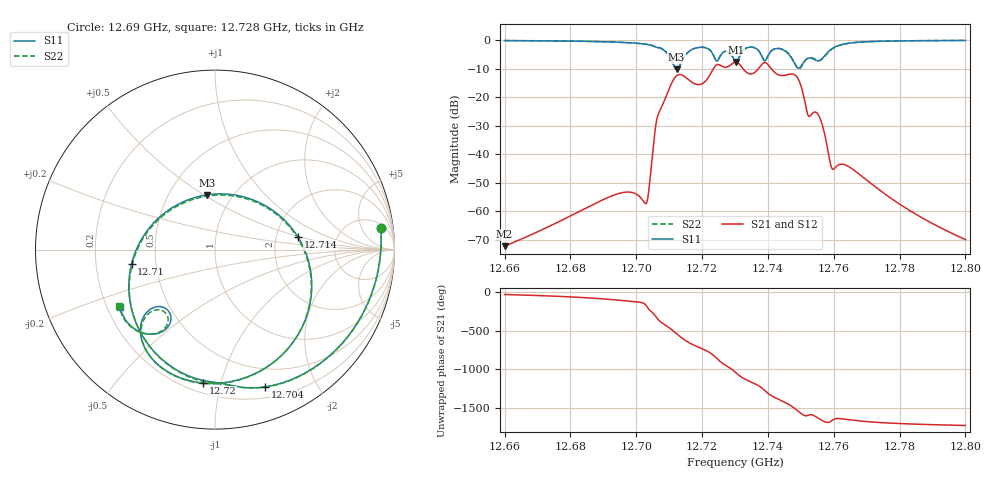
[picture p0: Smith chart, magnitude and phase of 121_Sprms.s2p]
! TOUCHSTONE file generated by CST MICROWAVE STUDIO
! Date and time: Wed Jul 31 16:53:41 2024
! Project name: WaveGuide_BPF-Ver4.1_U-shape_Ku_T3_C4_CWA_2.cst
! Parameters = {cavity_h=16; cavity_l0=10; cavity_l1=15.2335; cavity_l2=16.8156; cavity_l3=17.1173; cavity_l4=17.2417; cavity_l5=17.1182; cavity_l6=17.6177; cavity_r=2.5; cavity_screw_l=0.5; cavity_screw_r=1.5; cavity_w=8; iris_h00=0; iris_h01=8.8087; iris_h112=0; iris_h12=5.5981; iris_h211=3.6622; 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
! Header version: 2018
! Port assignment regex: !\s*Touchstone port\s*([0-9]+)\s*=\s*(CST MWS port|CST DS port)\s*([0-9]+|Zmin|Zmax)\s*\(\"(.*)\"\)(\s*mode\s*([0-9]+))?.*
! Touchstone port assignment:
! Touchstone port 1 = CST MWS port 1 ("")
! Touchstone port 2 = CST MWS port 2 ("")
# GHz S RI R 50
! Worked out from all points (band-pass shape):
!   5001 points, 12.66 GHz to 12.8 GHz, reference 50 ohm
!   highest |S21| = -7.67 dB at 12.73 GHz (marker M1); lowest = -72.2 dB at 12.66 GHz (marker M2)
!   |S21| within 3 dB of the highest: 12.72313 GHz to 12.7329 GHz (9.772 MHz wide, 0.0768 % of centre); 12.73666 GHz to 12.74146 GHz (4.798 MHz wide, 0.0377 % of centre)
!   lowest |S11| = -10.2 dB at 12.712 GHz (marker M3), VSWR 1.89, Z = 38.3 + j25.8 ohm
!   |S11| at or under -10 dB: 12.71189 GHz to 12.71259 GHz (697.9 kHz wide, 0.00549 % of centre)
!   |S22| runs from -10.4 to -0.2 dB; largest |S21 - S12| = 1e-09
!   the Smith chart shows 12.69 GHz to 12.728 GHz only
!   S11 on the Smith chart (normalised r, x): 12.69 GHz: 7, +12; 12.704 GHz: 0.30, -1.39; 12.71 GHz: 0.36, -0.07; 12.714 GHz: 2.66, +0.48; 12.72 GHz: 0.26, -0.88; 12.728 GHz: 0.25, -0.26
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12.66  0.4089 0.8882  0.000216 -0.000118  0.000216 -0.000118  0.4108 0.8874
12.68335  0.8389 0.4477  0.000411 -0.000958  0.000411 -0.000958  0.8394 0.4471
12.69049  0.9237 0.1203  8.62e-05 -0.00166  8.62e-05 -0.00166  0.9241 0.121
12.70278  0.4696 -0.7046  -0.00127 -0.000487  -0.00127 -0.000487  0.4803 -0.7006
12.70432  0.2793 -0.765  -0.00212 0.00391  -0.00212 0.00391  0.2945 -0.7637
12.70668  -0.0452 -0.7327  0.0496 0.00476  0.0496 0.00476  -0.0265 -0.7414
12.71037  -0.4647 -0.0785  -0.0551 -0.1475  -0.0551 -0.1475  -0.4698 -0.118
12.71225  -0.0439 0.305  -0.2356 -0.0143  -0.2356 -0.0143  -0.079 0.2919
12.71418  0.4625 0.07  -0.1076 0.2132  -0.1076 0.2132  0.4475 0.0849
12.71989  -0.0673 -0.7432  0.1684 -0.0274  0.1684 -0.0274  -0.0596 -0.7458
12.7281  -0.528 -0.3173  -0.1088 0.3299  -0.1088 0.3299  -0.5324 -0.3134
12.73  -0.3887 -0.1803  0.2766 0.3052  0.2766 0.3052  -0.3866 -0.1784
12.73025  -0.3644 -0.201  0.324 0.2573  0.324 0.2573  -0.3616 -0.1998
12.73868  -0.4244 0.1497  -0.3964 -0.00344  -0.3964 -0.00344  -0.4336 0.1413
12.74218  -0.6299 0.3087  0.0709 0.2572  0.0709 0.2572  -0.6448 0.2903
12.74851  0.3494 0.0524  0.0477 -0.232  0.0477 -0.232  0.341 0.1047
12.75075  -0.169 -0.363  -0.0963 -0.0547  -0.0963 -0.0547  -0.1415 -0.361
12.75335  -0.388 0.2786  -0.0433 -0.0265  -0.0433 -0.0265  -0.4147 0.2599
12.75744  0.4928 -0.2412  -0.00948 0.0177  -0.00948 0.0177  0.5009 -0.1862
12.76181  -0.2206 -0.7839  -0.00633 0.00203  -0.00633 0.00203  -0.1986 -0.7826
12.77668  -0.9473 -0.1481  -0.00046 0.00175  -0.00046 0.00175  -0.9472 -0.147
12.8  -0.9221 0.3398  9.22e-05 0.000307  9.22e-05 0.000307  -0.9212 0.3424
